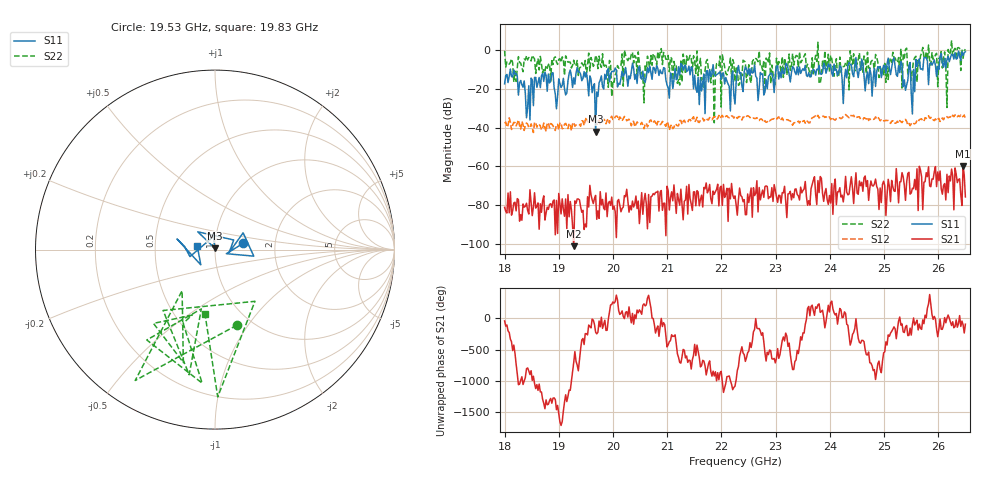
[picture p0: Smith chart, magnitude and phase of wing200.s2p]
!Keysight Technologies,N5242B,MY47200105,A.14.00.23
!Date: Friday, May 10, 2024 11:06:50
!Correction: S11(C  2-Port  )
!S21(C  2-Port  )
!S12(C  2-Port  )
!S22(C  2-Port  )
!S2P File: Measurement: :
# Hz S  RI  R 50
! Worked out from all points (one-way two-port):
!   401 points, 18 GHz to 26.5 GHz, reference 50 ohm
!   highest |S21| = -59.72 dB at 26.46 GHz (marker M1); lowest = -101.3 dB at 19.27 GHz (marker M2)
!   lowest |S11| = -42.0 dB at 19.68 GHz (marker M3), VSWR 1.02, Z = 49.9 + j0.789 ohm
!   |S11| at or under -10 dB: 18.11 GHz to 19.33 GHz (1.222 GHz wide, 6.53 % of centre); 19.35 GHz to 19.9 GHz (552.7 MHz wide, 2.82 % of centre); 21.86 GHz to 22.3 GHz (440.6 MHz wide, 2 % of centre) (the widest 3 of 59)
!   |S22| runs from -37.5 to 5.2 dB; largest |S21 - S12| = 0.022
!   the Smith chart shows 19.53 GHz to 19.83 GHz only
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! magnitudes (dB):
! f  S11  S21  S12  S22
! 18 GHz  -17.3  -81.2  -37.7  -0.2
! 18.19 GHz  -12.3  -78.5  -37.3  -10.7
! 18.43 GHz  -29.5  -82.8  -38.2  -4.9
! 18.72 GHz  -16.0  -75.2  -37.6  -9.3
! 19.27 GHz  -14.2  -101.3  -37.2  -5.1
! 19.42 GHz  -15.7  -83.7  -36.4  -6.4
! 19.68 GHz  -42.0  -75.0  -35.9  -2.5
! 20.02 GHz  -10.9  -80.6  -35.8  -16.5
! 20.25 GHz  -13.4  -71.8  -36.4  -4.2
! 20.55 GHz  -10.7  -84.8  -38.5  -13.7
! 20.85 GHz  -12.9  -83.1  -36.9  -4.6
! 21.23 GHz  -12.8  -80.1  -36.3  -17.9
! 21.4 GHz  -8.1  -69.4  -35.8  -4.3
! 21.59 GHz  -28.0  -80.4  -37.3  -8.2
! 21.85 GHz  -7.4  -72.7  -34.9  -8.9
! 22.25 GHz  -27.7  -75.2  -33.9  -16.3
! 23.67 GHz  -11.1  -69.4  -34.8  -3.8
! 25.1 GHz  -9.2  -70.4  -36.8  -6.0
! 25.52 GHz  -32.9  -71.3  -38.5  -10.0
! 25.63 GHz  -6.0  -82.8  -36.8  -5.0
! 26.46 GHz  -2.5  -59.7  -34.1  -4.0
! 26.5 GHz  -0.7  -75.8  -35.5  0.6
